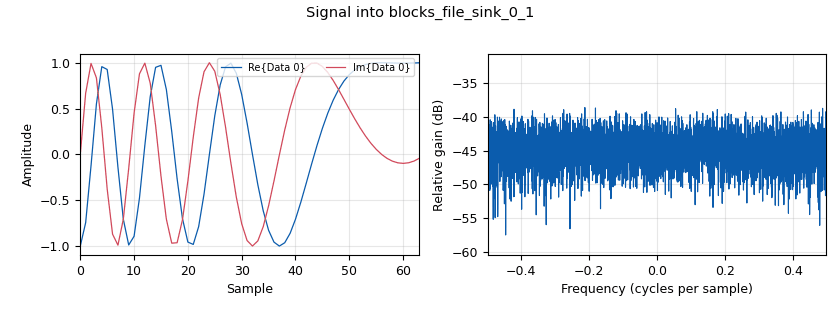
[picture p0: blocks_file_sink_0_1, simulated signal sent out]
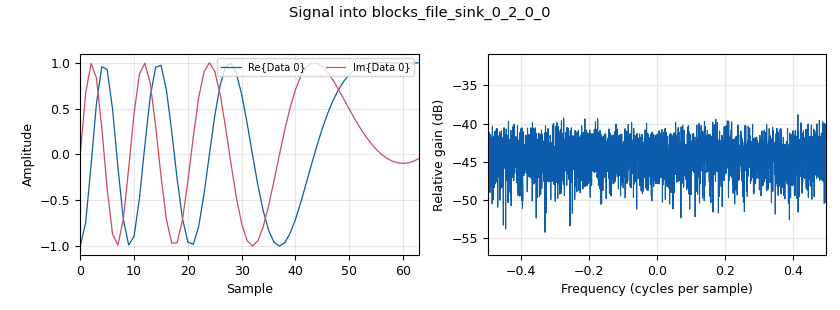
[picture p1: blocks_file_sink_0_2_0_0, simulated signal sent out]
options:
  parameters:
    generate_options: no_gui
    id: tx_lora_USRP
    output_language: python
    realtime_scheduling: '1'
    run_options: run
    title: Not titled yet
  states: {}

blocks:
- name: CR
  id: variable
  parameters:
    value: '4'
  states: {}
- name: SF
  id: variable
  parameters:
    value: '9'
  states: {}
- name: bandwidth
  id: variable
  parameters:
    value: int(125e3)
  states: {}
- name: center_freq
  id: variable
  parameters:
    value: int(868e6)
  states: {}
- name: const_multiply
  id: variable
  parameters:
    value: '1'
  states: {}
- name: gain
  id: variable
  parameters:
    value: '50'
  states: {}
- name: os_factor
  id: variable
  parameters:
    value: '1'
  states: {}
- name: payload_len
  id: variable
  parameters:
    value: '18'
  states: {}
- name: payload_nitems
  id: variable
  parameters:
    value: int(payload_nsymb*pow(2,SF))
  states: {}
- name: payload_nsymb
  id: variable
  parameters:
    value: int((payload_len/SF)*(CR+4))
  states: {}
- name: preamble_len
  id: variable
  parameters:
    value: '6'
  states: {}
- name: preamble_nitems
  id: variable
  parameters:
    value: round(pow(2,SF)*(preamble_len+2.25))
  states: {}
- name: samp_rate
  id: variable
  parameters:
    value: bandwidth
  states: {}
- name: blocks_file_sink_0_1
  id: blocks_file_sink
  parameters:
    file: lora_tx
    type: complex
  states: {}
- name: blocks_file_sink_0_2_0_0
  id: blocks_file_sink
  parameters:
    file: lora_tx_payload
    type: complex
    vlen: payload_nitems
  states: {}
- name: blocks_file_sink_0_3_0_0_0
  id: blocks_file_sink
  parameters:
    file: dumpIN
    type: byte
  states: {}
- name: blocks_file_sink_0_3_0_0_0_0_1
  id: blocks_file_sink
  parameters:
    file: dumpINsymb
    type: int
  states: {}
- name: blocks_file_sink_1
  id: blocks_file_sink
  parameters:
    file: USRP_1
    type: complex
  states: {}
- name: blocks_file_sink_1_0
  id: blocks_file_sink
  parameters:
    file: USRP_2
    type: complex
  states: {}
- name: blocks_message_strobe_0
  id: blocks_message_strobe
  parameters:
    msg: pmt.intern("#t")
    period: '2000'
  states: {}
- name: blocks_null_sink_4
  id: blocks_null_sink
  parameters:
    type: complex
  states: {}
- name: blocks_stream_mux_0_0
  id: blocks_stream_mux
  parameters:
    lengths: (100000, preamble_nitems + payload_nitems)
    type: complex
  states: {state: disabled}
- name: blocks_stream_to_vector_1
  id: blocks_stream_to_vector
  parameters:
    num_items: payload_nitems
    type: complex
  states: {}
- name: blocks_tagged_stream_align_0
  id: blocks_tagged_stream_align
  parameters:
    lengthtagname: packet_len
    type: complex
  states: {}
- name: blocks_vector_source_x_0
  id: blocks_vector_source_x
  parameters:
    repeat: 'False'
    type: byte
    vector: (1, 2, 3, 4, 5, 6, 7, 8, 9, 8, 7, 6, 5, 4, 3, 2, 1, 2, 5 ,6)
  states: {state: disabled}
- name: blocks_vector_source_x_1_0
  id: blocks_vector_source_x
  parameters:
    repeat: 'True'
    type: complex
    vector: '[0]*100000'
  states: {state: disabled}
- name: blocks_vector_to_stream_0
  id: blocks_vector_to_stream
  parameters:
    num_items: payload_nitems+preamble_nitems
    type: complex
  states: {}
- name: blocks_vector_to_stream_1
  id: blocks_vector_to_stream
  parameters:
    num_items: pow(2,SF)
    type: complex
  states: {}
- name: epy_block_0_1_0_0
  id: epy_block
  parameters:
    CR: CR
    SF: SF
    _source_code: "\"\"\"\nInterleaving block\nScrambles bits together to fight error bursts.\nReference : \"Towards an SDR implementation of LoRa...\" 2020 A.Marquet, N.Montavont, G.Papadopoulos)\n\nINPUT:\n    - in_sig[0]: SF bytes input sequence (4+CR useful bits per byte)\nOUTPUT:\n    - out_sig[0]: CR int32 output sequence\n\"\"\"\n\nimport numpy as np\nfrom gnuradio import gr\nimport time \n\nclass Interleaver(gr.basic_block):\n    def __init__(self, SF=9, CR=4):\n        gr.basic_block.__init__(self,\n            name=\"LoRa Interleaver\",\n            in_sig=[np.uint8],\n            out_sig=[np.uint32])\n        self.SF = SF\n        self.CR = CR\n\n    def forecast(self, noutput_items, ninputs) :\n        #ninput_items_required[i] is the number of items that will be consumed on input port i\n        ninput_items_required = [self.SF]*ninputs   # we need SF items to produce anything\n        return ninput_items_required\n\n    def general_work(self, input_items, output_items):\n        if(len(input_items[0]) >= self.SF and len(output_items[0]) >= self.CR+4) :    # if we have enough items to process\n            in0 = input_items[0][:self.SF]  # input buffer reference\n\n            # formatting the input buffer\n            input_matrix = np.zeros((self.SF, self.CR+4), dtype=np.uint8)\n            for i in range(len(in0)):\n                bits_crop = [int(x) for x in bin(in0[i])[2:]]                                       # convert to binary  \n                input_matrix[i][:] = ([0]*(self.CR+4-len(bits_crop)) + bits_crop)[-(self.CR+4):]    # crop to 4+CR bits\n\n            # interleaving\n            output_matrix = np.zeros((self.CR+4, self.SF), dtype=np.uint8)\n            for i in range(0,(self.CR+4)) :\n                for j in range(0,(self.SF)) :\n                    idi=self.SF-1-(j-i)%self.SF\n                    idj=self.CR+4-1-i\n                    output_matrix[i][j]=input_matrix[idi][idj]\n            \n            # # debug\n            # print(\"\\n--- GENERAL WORK : INTERLEAVER ---\")\n            # print(\"in0 :\")\n            # print(in0)\n            # print(\"len(in0) (should be SF): \")\n            # print(len(in0))\n            # print(\"input_matrix (SF x CR+4):\")\n            # print(input_matrix)\n            # print(\"output_matrix (CR+4 x SF):\")\n            # print(output_matrix)\n            # print(\"output_items[0] = \")\n            # print(output_items[0])\n\n\n            # to uint32\n            output_items[0][0:(self.CR+4)] = output_matrix.dot(1 << np.arange(output_matrix.shape[-1] - 1, -1, -1))\n\n            self.consume(0, self.SF)    # consume inputs (should be SF)\n            return self.CR+4            # return produced outputs (should be CR+4)\n\n        else :\n            return 0\n\n\n\n"
  states: {}
- name: epy_block_13
  id: epy_block
  parameters:
    _source_code: "\"\"\"\nEmbedded Python Blocks:\n\nEach time this file is saved, GRC will instantiate the first class it finds\nto get ports and parameters of your block. The arguments to __init__  will\nbe the parameters. All of them are required to have default values!\n\"\"\"\n\nimport numpy as np\nfrom gnuradio import gr\nimport pmt\nimport math\nimport matplotlib.pyplot as plt\n\ndef NormalizeData(data):\n    return (data - np.min(data)) / (np.max(data) - np.min(data))\n\ndef gain(d, w):\n    \"\"\"Return the power as a function of azimuthal angle, phi.\"\"\"\n    lam = 1\n    d = lam / 2\n    phi = np.linspace(0, 2*np.pi, 1000)\n    psi = 2*np.pi * d / lam * np.cos(phi)\n    j = np.arange(len(w))\n    A = np.sum(w[j] * np.exp(j * 1j * psi[:, None]), axis=1)\n    g = np.abs(A)**2\n    return phi, g\n\ndef plot(H) :\n\n    lam = 1\n    d = lam / 2\n\n    F_dbs = np.exp(-1j*math.pi*math.cos(0*math.pi/180)*np.arange(1,3)) # should be pointing to 0\n    # print(F_dbs)\n    phi, g = gain(d, F_dbs)\n    DdBi_dbs = NormalizeData(g)\n\n    F_zf = (np.linalg.pinv(H) * (1/math.sqrt(2))).flatten()\n    # print(F_zf)\n    phi, g = gain(d, F_zf)\n    DdBi_zf = NormalizeData(g)\n\n    F_cb = np.array(np.matrix(H).getH()).flatten()\n    # print(F_cb)\n    phi, g = gain(d, F_cb)\n    DdBi_cb = NormalizeData(g)\n\n    F_mrt = (H / np.linalg.norm(H)).flatten()\n    # print(F_mrt)\n    phi, g = gain(d, F_mrt)\n    DdBi_mrt = NormalizeData(g)\n\n    fig = plt.figure()\n\n    ax = fig.add_subplot(projection='polar')\n    ax.plot(phi, DdBi_dbs)\n    \n    ax = fig.add_subplot(projection='polar')\n    ax.plot(phi, DdBi_zf)\n\n    ax = fig.add_subplot(projection='polar')\n    ax.plot(phi, DdBi_cb)\n    \n    ax = fig.add_subplot(projection='polar')\n    ax.plot(phi, DdBi_mrt)\n\n    ax.set_rlabel_position(45)\n    ax.legend(['dbs', 'zf', 'cb', 'mrt'])\n    plt.show()\n\n\nclass blk(gr.sync_block):  # other base classes are basic_block, decim_block, interp_block\n    \"\"\"Embedded Python Block example - a simple multiply const\"\"\"\n\n    def __init__(self):  # only default arguments here\n        \"\"\"arguments to this function show up as parameters in GRC\"\"\"\n        gr.sync_block.__init__(\n            self,\n            name='Estimation + Precoding',   # will show up in GRC\n            in_sig=[np.complex64],\n            out_sig=[np.complex64, np.complex64]\n        )\n        self.message_port_register_in(pmt.intern(\"h_est\"))\n        # self.message_port_register_in(pmt.intern(\"h2_est\"))\n\n        self.h1_est = []\n        self.h2_est = []\n        self.state = 'est_h1'\n        self.set_msg_handler(pmt.intern(\"h_est\"), self.handle_msg)\n        # self.set_msg_handler(pmt.intern(\"h2_est\"), self.handle_msg_h2)\n\n    def handle_msg(self,msg) :\n        if self.state == \"est_h1\" :\n            self.h1_est.append(pmt.to_complex(msg))\n            print(\"h1 = \", self.h1_est)\n            print(\"now estimating h2 ...\")\n            self.state = 'est_h2'\n            return \n\n        if self.state == \"est_h2\" :\n            self.h2_est.append(pmt.to_complex(msg))\n            print(\"h2 = \", self.h2_est)\n            if len(self.h2_est) >= 1 :\n                print(\"h1 and h2 have been estimated, now precoding using both antennas\")\n                self.state = 'ZF_precoding'\n            else :\n                print(\"now estimating h1 ...\")\n                self.state = 'est_h1'\n            return \n\n        if self.state == \"ZF_precoding\" :\n            return\n            \n    \n\n    def work(self, input_items, output_items):\n        \n        tags = self.get_tags_in_window(0, 0, len(input_items[0]))\n        for tag in tags:\n            key = pmt.to_python(tag.key) # Convert from PMT to python string\n            value = pmt.to_python(tag.value) # Note that the type(value) can be several things, it depends what PMT type it was\n            if key == 'tx_sob':\n                pass\n        \n        if self.state == 'est_h1' :\n            print(\"est_h1\")\n            output_items[0][:] = input_items[0] * 1\n            # output_items[1][:] = input_items[0] * 0\n            return len(output_items[0])\n\n        if self.state == 'est_h2' :\n            print(\"est_h2\")\n            # output_items[0][:] = input_items[0] * 0\n            output_items[1][:] = input_items[0] * 1\n            return len(output_items[1])\n\n        if self.state == 'ZF_precoding' :\n            print(\"ZF_precoding\")\n\n            h1 = np.mean(self.h1_est)\n            h2 = np.mean(self.h2_est)\n            H=[[h1, h2]]\n            self.h1_est.clear()\n            self.h2_est.clear()\n\n            # F_zf = np.linalg.pinv(H) * (1/math.sqrt(2))\n            # print(\"F = \",F_zf)\n            # x = [np.transpose(input_items[0])]\n            # x_precoded = np.matmul(F_zf, x)\n\n            # output_items[0][:] = x_precoded[0]\n            # output_items[1][:] = x_precoded[1]\n\n            plot(H)\n            self.state = 'est_h1'\n            return len(output_items[0])\n\n        # if self.state == 'DBS_precoding' : \n        #     print(\"DBS_precoding\")\n\n        #     h1 = np.mean(self.h1_est)\n        #     h2 = np.mean(self.h2_est)\n        #     H=[[h1, h2]]\n        #     F_dbs = np.transpose([np.exp(-1j*math.pi*math.cos(0*math.pi/180)*np.arange(1,2+1))]) * (1/math.sqrt(2))\n        #     print(\"[TX] precoder : F = \",F_dbs)\n        #     x = [np.transpose(input_items[0])]\n        #     x_precoded = np.matmul(F_dbs, x)\n\n        #     output_items[0][:] = x_precoded[0]\n        #     output_items[1][:] = x_precoded[1]\n        #     return len(output_items[0])\n\n        # if self.state == 'CB_precoding' :\n        #     print(\"CB_precoding\")\n\n        #     h1 = np.mean(self.h1_est)\n        #     h2 = np.mean(self.h2_est)\n        #     H=[[h1, h2]]\n\n        #     F_cb = H.getH()\n        #     print(\"[TX] precoder : F = \",F_cb)\n        #     x = [np.transpose(input_items[0])]\n        #     x_precoded = np.matmul(F_cb, x)\n\n        #     output_items[0][:] = x_precoded[0]\n        #     output_items[1][:] = x_precoded[1]\n        #     return len(output_items[0])\n        \n"
  states: {}
- name: epy_block_1_0_0
  id: epy_block
  parameters:
    _source_code: |
      """
      Whitening block
      Whiten input sequence to remove the frequency and time correlations in it.

      INPUT:
          - in_sig[0]: binary input sequence (4 useful bits per byte)
      OUTPUT:
          - out_sig[0]: whitened binary sequence
      """

      import numpy as np
      from gnuradio import gr
      import time
      import pmt

      whitening_seq =(0xFF, 0xFE, 0xFC, 0xF8, 0xF0, 0xE1, 0xC2, 0x85, 0x0B, 0x17, 0x2F, 0x5E, 0xBC, 0x78, 0xF1, 0xE3,
                      0xC6, 0x8D, 0x1A, 0x34, 0x68, 0xD0, 0xA0, 0x40, 0x80, 0x01, 0x02, 0x04, 0x08, 0x11, 0x23, 0x47,
                      0x8E, 0x1C, 0x38, 0x71, 0xE2, 0xC4, 0x89, 0x12, 0x25, 0x4B, 0x97, 0x2E, 0x5C, 0xB8, 0x70, 0xE0,
                      0xC0, 0x81, 0x03, 0x06, 0x0C, 0x19, 0x32, 0x64, 0xC9, 0x92, 0x24, 0x49, 0x93, 0x26, 0x4D, 0x9B,
                      0x37, 0x6E, 0xDC, 0xB9, 0x72, 0xE4, 0xC8, 0x90, 0x20, 0x41, 0x82, 0x05, 0x0A, 0x15, 0x2B, 0x56,
                      0xAD, 0x5B, 0xB6, 0x6D, 0xDA, 0xB5, 0x6B, 0xD6, 0xAC, 0x59, 0xB2, 0x65, 0xCB, 0x96, 0x2C, 0x58,
                      0xB0, 0x61, 0xC3, 0x87, 0x0F, 0x1F, 0x3E, 0x7D, 0xFB, 0xF6, 0xED, 0xDB, 0xB7, 0x6F, 0xDE, 0xBD,
                      0x7A, 0xF5, 0xEB, 0xD7, 0xAE, 0x5D, 0xBA, 0x74, 0xE8, 0xD1, 0xA2, 0x44, 0x88, 0x10, 0x21, 0x43,
                      0x86, 0x0D, 0x1B, 0x36, 0x6C, 0xD8, 0xB1, 0x63, 0xC7, 0x8F, 0x1E, 0x3C, 0x79, 0xF3, 0xE7, 0xCE,
                      0x9C, 0x39, 0x73, 0xE6, 0xCC, 0x98, 0x31, 0x62, 0xC5, 0x8B, 0x16, 0x2D, 0x5A, 0xB4, 0x69, 0xD2,
                      0xA4, 0x48, 0x91, 0x22, 0x45, 0x8A, 0x14, 0x29, 0x52, 0xA5, 0x4A, 0x95, 0x2A, 0x54, 0xA9, 0x53,
                      0xA7, 0x4E, 0x9D, 0x3B, 0x77, 0xEE, 0xDD, 0xBB, 0x76, 0xEC, 0xD9, 0xB3, 0x67, 0xCF, 0x9E, 0x3D,
                      0x7B, 0xF7, 0xEF, 0xDF, 0xBF, 0x7E, 0xFD, 0xFA, 0xF4, 0xE9, 0xD3, 0xA6, 0x4C, 0x99, 0x33, 0x66,
                      0xCD, 0x9A, 0x35, 0x6A, 0xD4, 0xA8, 0x51, 0xA3, 0x46, 0x8C, 0x18, 0x30, 0x60, 0xC1, 0x83, 0x07,
                      0x0E, 0x1D, 0x3A, 0x75, 0xEA, 0xD5, 0xAA, 0x55, 0xAB, 0x57, 0xAF, 0x5F, 0xBE, 0x7C, 0xF9, 0xF2,
                      0xE5, 0xCA, 0x94, 0x28, 0x50, 0xA1, 0x42, 0x84, 0x09, 0x13, 0x27, 0x4F, 0x9F, 0x3F, 0x7F)

      class Whitening(gr.sync_block):
          def __init__(self, reset_key="tx_sob"):
              gr.sync_block.__init__(
                  self,
                  name='LoRa Whitening',
                  in_sig=[np.uint8],
                  out_sig=[np.uint8]
              )
              self.table_idx = 0 # index of the whitening table cell to be used for whitening
              self.frame_counter = 0 # frame number
              
          def work(self, input_items, output_items):
              
              tags = self.get_tags_in_window(0, 0, len(input_items[0]))
              for tag in tags:
                  key = pmt.to_python(tag.key) # convert from PMT to python string
                  value = pmt.to_python(tag.value) # Note that the type(value) can be several things, it depends what PMT type it was
                  
                  if key == 'tx_sob':
                      self.frame_counter += 1
                      # print("\n[TX] Whitening  : frame sent, number : ", self.frame_counter)
                      self.table_idx = 0

              in0 = input_items[0]    # input buffer reference
              out = output_items[0]   # output buffer reference

              input_matrix = np.zeros((len(in0), 4), dtype=np.uint8)
              for i in range(len(in0)):
                  bits_crop = [int(x) for x in bin(in0[i])[2:]]                       # convert to binary
                  input_matrix[i][:] = ([0]*(4-len(bits_crop)) + bits_crop)[-(4):]    # crop to 4 useful bits
                  out[i] = in0[i] ^ whitening_seq[self.table_idx] # whiten (XOR) the input vector
                  self.table_idx += 1                         # increment table index
                  if(self.table_idx == len(whitening_seq)):   # if table index is out of bounds, reset it
                      self.table_idx = 0
         


              # # debug
              # print("\n--- GENERAL WORK : WHITENING ---")
              # print("in0 :")
              # print(in0)
              # print("input_matrix :")
              # print(input_matrix)
              # print("out :")
              # print(out)
              # print("return len(out): ")
              # print(len(out))
              # print("--- WHITENING END---")

              return len(out)
    reset_key: '"tx_sob"'
  states: {}
- name: epy_block_1_1
  id: epy_block
  parameters:
    CR: CR
    _source_code: |
      """
      Hamming encoding block
      Forward Error Correction encoding block.
      Reference : "MIT EECS II : http://web.mit.edu/6.02/www/f2012/handouts/L05_slides.pdf"

      INPUT:
          - in_sig[0]: binary input sequence (4 useful bits per byte)
      OUTPUT:
          - out_sig[0]: binary output sequence (4+CR useful bits per byte)
      """

      import numpy as np
      from gnuradio import gr


      class HammingTx(gr.sync_block):
          def __init__(self, CR = 4):
              gr.sync_block.__init__(
                  self,
                  name='LoRa Hamming Tx',
                  in_sig=[np.uint8],
                  out_sig=[np.uint8]
              )
              self.CR = CR

          def work(self, input_items, output_items):
              
              in0 = input_items[0]    # input buffer reference
              out = output_items[0]   # output buffer reference
          
              output_matrix = np.zeros((len(in0), 4+self.CR), dtype=np.uint8)
              input_matrix = np.zeros((len(in0), 4), dtype=np.uint8)

              # Hamming encoding (iterate over matrix lines and encode each)
              for i in range(len(in0)):
                  bits_crop = [int(x) for x in bin(in0[i])[2:]]                       # convert to binary    
                  input_matrix[i][:] = ([0]*(4-len(bits_crop)) + bits_crop)[-(4):]    # crop to 4 bits

                  if self.CR == 1: # CR = 1, add one parity bit
                      p0 = input_matrix[i][0] ^ input_matrix[i][1] ^ input_matrix[i][2] ^ input_matrix[i][3]
                      output_matrix[i] = np.asarray([input_matrix[i][0], input_matrix[i][1], input_matrix[i][2], input_matrix[i][3], p0], dtype=np.uint8)

                  if self.CR == 2: # CR = 2, add two parity bits
                      p0 = input_matrix[i][0] ^ input_matrix[i][1] ^ input_matrix[i][2]
                      p1 = input_matrix[i][1] ^ input_matrix[i][2] ^ input_matrix[i][3]
                      output_matrix[i] = np.asarray([input_matrix[i][0], input_matrix[i][1], input_matrix[i][2], input_matrix[i][3], p1, p0], dtype=np.uint8)

                  if self.CR == 3: # CR = 3, add three parity bits (Hamming(7,4))
                      Q = np.array([[0,1,1,1], [1,1,0,1], [1,1,1,0], [1,0,1,1]], np.uint8) 
                      Id = np.identity(4, dtype=np.uint8)
                      G = np.concatenate((Id, Q),axis=1)  # generator matrix
                      output_matrix[i] = (np.dot(input_matrix[i],G)%2)[0:4+self.CR]

                  if self.CR == 4: # CR = 4, add four parity bits (Hamming(8,4))
                      Q = np.array([[0,1,1,1], [1,1,0,1], [1,1,1,0], [1,0,1,1]], np.uint8)
                      Id = np.identity(4, dtype=np.uint8)
                      G = np.concatenate((Id, Q),axis=1)  # generator matrix
                      output_matrix[i] = (np.dot(input_matrix[i],G)%2)

              # binary to decimal conversion
              out[:] = output_matrix.dot(1 << np.arange(output_matrix.shape[-1] - 1, -1, -1))

              # #debug
              # print("\n--- GENERAL WORK : HAMMING_ENC ---")
              # print("in0 :")
              # print(in0)
              # print("input_matrix :")
              # print(input_matrix)
              # print("output_matrix :")
              # print(output_matrix)
              # print("out :")
              # print(out)
              # print("--- HAMMING_ENC END---")

              return len(output_items[0])
  states: {}
- name: epy_block_3
  id: epy_block
  parameters:
    SF: SF
    _source_code: |-
      """
      Preamble Generation Block:
      Reference : "Towards an SDR implementation of LoRa..." 2020 A.Marquet, N.Montavont, G.Papadopoulos)

      INPUT:
          - None
      OUTPUT:
          - out_sig[0]: IQ complex vector, length = M * os_factor * (preamble_len + 2.25)
      """

      import numpy as np
      from gnuradio import gr
      import math
      import time
      import pmt

      def modulate_vect(SF, id, os_factor, sign) :
          M  = pow(2,SF)
          ka = np.arange(0,M)
          fact1 = np.exp(1j*sign*math.pi*(pow(ka,2))/M)
          chirp = np.zeros((len(id),M*os_factor), dtype=np.complex64)
          for i in range(len(id)) :
              chirp[i] = fact1*np.exp(2j*math.pi*(id[i]/M)*ka)
          return chirp

      class PreambleGenerator(gr.sync_block):

          def __init__(self, SF = 9, preamble_len = 6):
              gr.sync_block.__init__(
                  self,
                  name='LoRa Preamble Generator',
                  in_sig=None,
                  out_sig=[(np.complex64,round(pow(2,SF)*(preamble_len+2.25)))]   # !!! will cause problem if os_factor > 1 !!! 
              )
              self.SF = SF
              self.preamble_len = preamble_len

          def work(self, input_items, output_items):
              # t = time.time()
              preamble_up = np.reshape(modulate_vect(self.SF, [0]*self.preamble_len, 1, 1), -1)      # generate preamble_len upchirps
              preamble_down = np.reshape(np.conjugate(modulate_vect(self.SF, [0]*3, 1, 1)), -1)      # generate 3 downchirps
              output_items[0][:] = np.concatenate((preamble_up, preamble_down[0:int(2.25*pow(2,self.SF))])) # concatenate preamble_up and preamble_down[0:2.25*M]
              # # TAGS
              # key = pmt.intern("tx_sob")
              # value = pmt.from_bool(True)
              # self.add_item_tag(0, # Write to output port 0
              #         self.nitems_written(0), # Index of the tag in absolute terms
              #         key, # Key of the tag
              #         value # Value of the tag
              # )
              return len(output_items[0])
    preamble_len: preamble_len
  states: {}
- name: epy_block_6
  id: epy_block
  parameters:
    _source_code: "\"\"\"\nEmbedded Python Blocks:\n\nEach time this file is saved, GRC will instantiate the first class it finds\nto get ports and parameters of your block. The arguments to __init__  will\nbe the parameters. All of them are required to have default values!\n\"\"\"\n\nimport numpy as np\nfrom gnuradio import gr\nimport pmt\n\nclass blk(gr.sync_block):  # other base classes are basic_block, decim_block, interp_block\n    \"\"\"Embedded Python Block example - a simple multiply const\"\"\"\n\n    def __init__(self, preamble_nitems = 4224, payload_nitems = 8192):  # only default arguments here\n        \"\"\"arguments to this function show up as parameters in GRC\"\"\"\n        gr.sync_block.__init__(\n            self,\n            name='LoRa Frame Constructor',   # will show up in GRC\n            in_sig=[(np.complex64,preamble_nitems),(np.complex64,payload_nitems)],\n            out_sig=[(np.complex64,preamble_nitems+payload_nitems)]\n        )\n        self.payload_nitems = payload_nitems\n        self.preamble_nitems = preamble_nitems\n        self.frame_counter = 0\n\n        \n    def work(self, input_items, output_items):\n        if len(input_items[0][0]) == self.preamble_nitems and len(input_items[1][0]) == self.payload_nitems :\n            output_items[0][:] = np.concatenate((input_items[0],input_items[1]),axis=1)\n            # print(np.shape(output_items[0][:]))\n            # TAGS\n            key = pmt.intern(\"tx_sob\")\n            value = pmt.from_bool(True)\n            self.add_item_tag(0, # Write to output port 0\n                    self.nitems_written(0), # Index of the tag in absolute terms\n                    key, # Key of the tag\n                    value # Value of the tag\n            )\n            # tx_time tag is optional : https://discuss-gnuradio.gnu.narkive.com/c2r83OZW/uhd-usrp-sink-stream-tagging\n            # TAGS\n            key = pmt.intern(\"packet_len\")\n            value = pmt.from_long(self.preamble_nitems+self.payload_nitems)\n            self.add_item_tag(0, # Write to output port 0\n                    self.nitems_written(0), # Index of the tag in absolute terms\n                    key, # Key of the tag\n                    value # Value of the tag\n            )\n\n            self.frame_counter += 1\n            print(\"\\n\\n[TX] Constr. : Frame #%d sent\" % (self.frame_counter))\n            return len(output_items[0])\n        else :\n            return 0\n        # out = np.concatenate((input_items[0][0],input_items[1][0]))\n        # print(len(out))\n        # output_items[0][:] = out\n        \n"
    payload_nitems: '8192'
    preamble_nitems: '4224'
  states: {}
- name: epy_block_6_0_0_0_0_0
  id: epy_block
  parameters:
    SF: SF
    _source_code: |-
      """
      Modulation Block:
      Reference : "Towards an SDR implementation of LoRa..." 2020 A.Marquet, N.Montavont, G.Papadopoulos)

      INPUT:
          - in_sig[0]: int32 input stream
      OUTPUT:
          - out_sig[0]: IQ complex vectors output stream
      """

      import numpy as np
      from gnuradio import gr
      import math
      import time

      # def modulate(SF, id, os_factor, sign) :
      #     M  = pow(2,SF)
      #     n_fold = M * os_factor - id * os_factor
      #     chirp = np.zeros(M*os_factor, dtype=np.complex64)
      #     for n in range(0,M*os_factor):
      #         if n < n_fold:
      #             chirp[n] = np.exp(2j*math.pi *(n*n/(2*M)/pow(os_factor,2)+(id/M-0.5)*n/os_factor))
      #         else:
      #             chirp[n] = np.exp(2j*math.pi *(n*n/(2*M)/pow(os_factor,2)+(id/M-1.5)*n/os_factor))
      #     return chirp

      def modulate(SF, id, os_factor, sign) :
          M  = pow(2,SF)
          ka = np.arange(0,M)
          fact1 = np.exp(1j*sign*math.pi*(pow(ka,2))/M)
          chirp = fact1*np.exp(2j*math.pi*(id/M)*ka)

          return chirp

      class Modulation(gr.sync_block):
          def __init__(self, SF = 9):
              gr.sync_block.__init__(
                  self,
                  name='LoRa Modulation',
                  in_sig=[np.uint32],
                  out_sig=[(np.complex64,pow(2,SF))]
              )
              self.SF = SF
              self.set_tag_propagation_policy(gr.TPP_DONT)
              
          def work(self, input_items, output_items):

              symbols = input_items[0]
              for i in range (len(symbols)) :
                  # print(symbols[i])
                  output_items[0][i] = modulate(self.SF, symbols[i], 1, 1)   # modulate every symbol
              return len(output_items[0])
  states: {}
- name: epy_block_7_0
  id: epy_block
  parameters:
    _source_code: |
      """
      Embedded Python Blocks:

      Each time this file is saved, GRC will instantiate the first class it finds
      to get ports and parameters of your block. The arguments to __init__  will
      be the parameters. All of them are required to have default values!
      """

      import numpy as np
      from gnuradio import gr
      import pmt

      class blk(gr.sync_block):
          def __init__(self, preamble_nitems = 4224, payload_nitems = 8192):
              gr.sync_block.__init__(
                  self,
                  name='LoRa EoB Tagger',
                  in_sig=[np.complex64],
                  out_sig=[np.complex64]
              )
              self.payload_nitems = payload_nitems
              self.preamble_nitems = preamble_nitems
              self.frame_counter = 0

          def work(self, input_items, output_items):

              tags = self.get_tags_in_window(0, 0, len(input_items[0]))
              for tag in tags:
                  if pmt.to_python(tag.key) == "tx_sob" :
                      key = pmt.intern("tx_eob")
                      value = pmt.from_bool(True)
                      self.add_item_tag(0, # Write to output port 0
                              self.nitems_written(0) + self.payload_nitems + self.preamble_nitems-1, # Index of the tag in absolute terms
                              key, # Key of the tag
                              value # Value of the tag
                      )
                      self.frame_counter += 1
                      # print("\n\n[TX] Constr. : Frame #%d sent" % (self.frame_counter))
              output_items[0][:] = input_items[0]

              return len(output_items[0])
    payload_nitems: payload_nitems
    preamble_nitems: preamble_nitems
  states: {}
- name: epy_block_8
  id: epy_block
  parameters:
    SF: '9'
    _source_code: |
      """
      Embedded Python Blocks:

      Each time this file is saved, GRC will instantiate the first class it finds
      to get ports and parameters of your block. The arguments to __init__  will
      be the parameters. All of them are required to have default values!
      """

      import numpy as np
      from gnuradio import gr


      class blk(gr.sync_block):

          def __init__(self, SF=1):
              gr.sync_block.__init__(
                  self,
                  name='LoRa Gray Tx',
                  in_sig=[np.int32],
                  out_sig=[np.int32]
              )
              # if an attribute with the same name as a parameter is found,
              # a callback is registered (properties work, too).
              self.SF = SF

          def work(self, input_items, output_items):
              in0 = input_items[0][:len(output_items[0])]
              out = output_items[0]

              for i in range(len(out)):
                  out[i] = in0[i] ^ (in0[i] >> 1)
              return len(output_items[0])
  states: {}
- name: pdu_pdu_to_stream_x_0
  id: pdu_pdu_to_stream_x
  parameters:
    early_behavior: pdu.EARLY_BURST_APPEND
    type: byte
  states: {}
- name: pdu_random_pdu_0
  id: pdu_random_pdu
  parameters:
    length_modulo: SF
    mask: '0x0F'
    maxsize: payload_len
    minsize: payload_len
  states: {}
- name: uhd_usrp_sink_0_0
  id: uhd_usrp_sink
  parameters:
    ant0: '"TX/RX"'
    ant1: '"TX/RX"'
    center_freq0: center_freq
    center_freq1: center_freq
    clock_source0: gpsdo
    clock_source1: mimo
    dev_addr: '"addr0=192.168.10.3, addr1=192.168.10.2"'
    gain0: gain
    gain1: gain
    nchan: '2'
    num_mboards: '2'
    samp_rate: samp_rate
    sync: none
    time_source1: mimo
    type: fc32
  states: {}
- name: uhd_usrp_source_0
  id: uhd_usrp_source
  parameters:
    ant0: '"RX2"'
    center_freq0: center_freq
    clock_source0: gpsdo
    dev_addr: '"addr=192.168.10.2"'
    gain0: '0'
    samp_rate: samp_rate
    sync: none
    type: fc32
  states: {state: disabled}
- name: virtual_sink_0
  id: virtual_sink
  parameters:
    stream_id: input
  states: {}
- name: virtual_sink_1
  id: virtual_sink
  parameters:
    stream_id: symbols_idx
  states: {}
- name: virtual_sink_3
  id: virtual_sink
  parameters:
    stream_id: Tx
  states: {}
- name: virtual_source_0
  id: virtual_source
  parameters:
    stream_id: input
  states: {}
- name: virtual_source_1
  id: virtual_source
  parameters:
    stream_id: symbols_idx
  states: {}
- name: virtual_source_3
  id: virtual_source
  parameters:
    stream_id: Tx
  states: {}
- name: zeromq_pull_msg_source_0
  id: zeromq_pull_msg_source
  parameters:
    address: tcp://10.10.8.27:5678
    timeout: '100'
  states: {state: disabled}
- name: zeromq_pull_msg_source_0_0
  id: zeromq_pull_msg_source
  parameters:
    address: tcp://10.10.8.27:5679
    timeout: '100'
  states: {state: disabled}
- name: zeromq_pull_msg_source_1
  id: zeromq_pull_msg_source
  parameters:
    address: tcp://10.10.8.27:5678
    timeout: '100'
  states: {}
- name: zeromq_sub_msg_source_0
  id: zeromq_sub_msg_source
  parameters:
    address: tcp://10.10.8.27:5678
    timeout: '100'
  states: {state: disabled}

connections:
- [blocks_message_strobe_0, strobe, pdu_random_pdu_0, generate]
- [blocks_stream_mux_0_0, '0', virtual_sink_3, '0']
- [blocks_stream_to_vector_1, '0', blocks_file_sink_0_2_0_0, '0']
- [blocks_stream_to_vector_1, '0', epy_block_6, '1']
- [blocks_tagged_stream_align_0, '0', epy_block_7_0, '0']
- [blocks_vector_source_x_0, '0', blocks_file_sink_0_3_0_0_0, '0']
- [blocks_vector_source_x_0, '0', virtual_sink_0, '0']
- [blocks_vector_source_x_1_0, '0', blocks_stream_mux_0_0, '0']
- [blocks_vector_to_stream_0, '0', blocks_tagged_stream_align_0, '0']
- [blocks_vector_to_stream_1, '0', blocks_stream_to_vector_1, '0']
- [epy_block_0_1_0_0, '0', blocks_file_sink_0_3_0_0_0_0_1, '0']
- [epy_block_0_1_0_0, '0', epy_block_8, '0']
- [epy_block_13, '0', blocks_file_sink_1, '0']
- [epy_block_13, '0', blocks_null_sink_4, '0']
- [epy_block_13, '0', uhd_usrp_sink_0_0, '0']
- [epy_block_13, '1', blocks_file_sink_1_0, '0']
- [epy_block_13, '1', uhd_usrp_sink_0_0, '1']
- [epy_block_1_0_0, '0', epy_block_1_1, '0']
- [epy_block_1_1, '0', epy_block_0_1_0_0, '0']
- [epy_block_3, '0', epy_block_6, '0']
- [epy_block_6, '0', blocks_vector_to_stream_0, '0']
- [epy_block_6_0_0_0_0_0, '0', blocks_vector_to_stream_1, '0']
- [epy_block_7_0, '0', blocks_stream_mux_0_0, '1']
- [epy_block_7_0, '0', epy_block_13, '0']
- [epy_block_7_0, '0', virtual_sink_3, '0']
- [epy_block_8, '0', virtual_sink_1, '0']
- [pdu_pdu_to_stream_x_0, '0', blocks_file_sink_0_3_0_0_0, '0']
- [pdu_pdu_to_stream_x_0, '0', virtual_sink_0, '0']
- [pdu_random_pdu_0, pdus, pdu_pdu_to_stream_x_0, pdus]
- [virtual_source_0, '0', epy_block_1_0_0, '0']
- [virtual_source_1, '0', epy_block_6_0_0_0_0_0, '0']
- [virtual_source_3, '0', blocks_file_sink_0_1, '0']
- [zeromq_pull_msg_source_0, out, epy_block_13, h_est]
- [zeromq_pull_msg_source_1, out, epy_block_13, h_est]
- [zeromq_sub_msg_source_0, out, epy_block_13, h_est]

metadata:
  file_format: 1
  grc_version: 3.10.2.0
